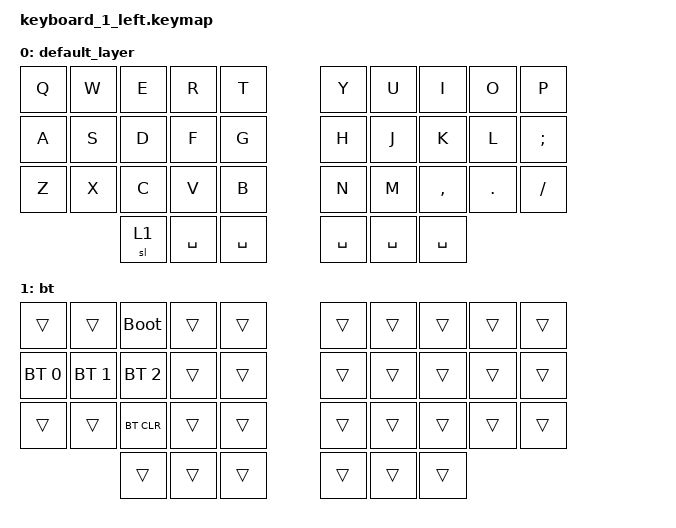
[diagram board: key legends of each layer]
#include <behaviors.dtsi>
#include <dt-bindings/zmk/bt.h>
#include <dt-bindings/zmk/keys.h>

/ {
    keymap {
        compatible = "zmk,keymap";

        default_layer {
            bindings = <
  &kp Q  &kp W  &kp E  &kp R      &kp T        &kp Y      &kp U      &kp I      &kp O    &kp P
  &kp A  &kp S  &kp D  &kp F      &kp G        &kp H      &kp J      &kp K      &kp L    &kp SEMI
  &kp Z  &kp X  &kp C  &kp V      &kp B        &kp N      &kp M      &kp COMMA  &kp DOT  &kp FSLH
                &sl 1  &kp SPACE  &kp SPACE    &kp SPACE  &kp SPACE  &kp SPACE
            >;
        };

        bt {
            bindings = <
  &trans        &trans        &bootloader   &trans  &trans    &trans  &trans  &trans  &trans  &trans
  &bt BT_SEL 0  &bt BT_SEL 1  &bt BT_SEL 2  &trans  &trans    &trans  &trans  &trans  &trans  &trans
  &trans        &trans        &bt BT_CLR    &trans  &trans    &trans  &trans  &trans  &trans  &trans
                              &trans        &trans  &trans    &trans  &trans  &trans
            >;
        };
    };
};
